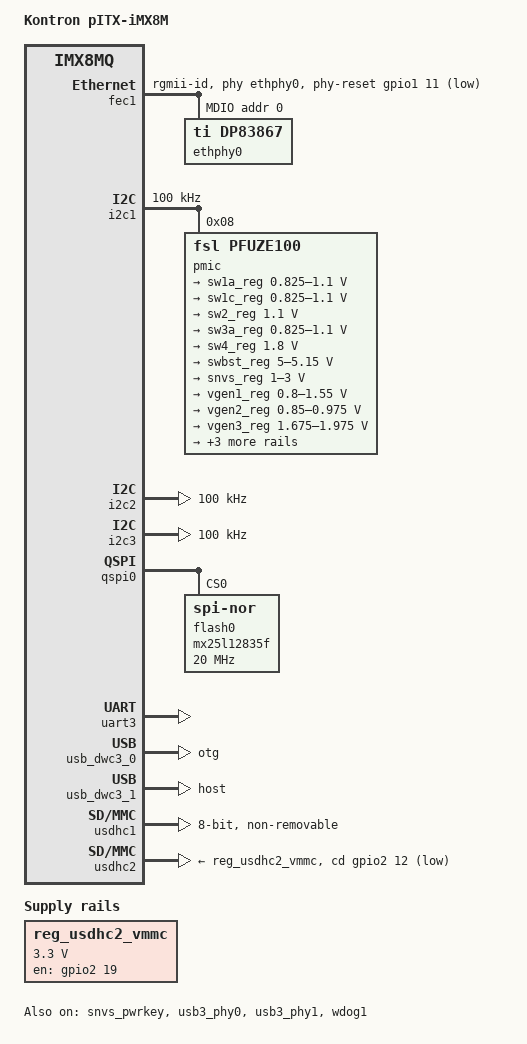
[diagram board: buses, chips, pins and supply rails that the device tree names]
// SPDX-License-Identifier: GPL-2.0+
/*
 * (C) Copyright 2019
 *     Kontron Asia Pacific Design
 * (C) Copyright 2020
 *     Thomas Schaefer, Kontron Europe GmbH
 *     thomas.schaefer@kontron.com
 */

/dts-v1/;

/* First 128KB is for PSCI ATF. */
/memreserve/ 0x40000000 0x00020000;

#include "imx8mq.dtsi"
#include <dt-bindings/net/ti-dp83867.h>

/ {
	model = "Kontron pITX-iMX8M";
	compatible = "kontron,pitx-imx8m", "fsl,imx8mq";

	chosen {
		bootargs = "console=ttymxc2,115200 earlycon=ec_imx6q,0x30880000,115200";
		stdout-path = &uart3;
	};

	reg_usdhc2_vmmc: regulator-vsd-3v3 {
		pinctrl-names = "default";
		pinctrl-0 = <&pinctrl_reg_usdhc2>;
		compatible = "regulator-fixed";
		regulator-name = "VSD_3V3";
		regulator-min-microvolt = <3300000>;
		regulator-max-microvolt = <3300000>;
		gpio = <&gpio2 19 GPIO_ACTIVE_HIGH>;
		// off-on-delay-us = <20000>;
		enable-active-high;
	};
};

&fec1 {
	pinctrl-names = "default";
	pinctrl-0 = <&pinctrl_fec1>;
	phy-mode = "rgmii-id";
	phy-handle = <&ethphy0>;
	phy-reset-gpios = <&gpio1 11 GPIO_ACTIVE_LOW>;
	fsl,magic-packet;
	status = "okay";

	/* START of DP83867 patch for U-Boot */
	/*
	 * For some unknown reasons, DP83867 PHY driver for U-Boot doesn't
	 * read its properties from the phy0 node.
	 * As a workaround, we move them here
	 */
	ti,rx-internal-delay = <DP83867_RGMIIDCTL_2_25_NS>;
	ti,tx-internal-delay = <DP83867_RGMIIDCTL_2_75_NS>;
	ti,fifo-depth = <DP83867_PHYCR_FIFO_DEPTH_4_B_NIB>;
	ti,dp83867-rxctrl-strap-quirk = <1>;
	/* END of DP83867 patch for U-Boot */

	mdio {
		#address-cells = <1>;
		#size-cells = <0>;

		ethphy0: ethernet-phy@0 {
			compatible = "ti,dp83867", "ethernet-phy-ieee802.3-c22";
			reg = <0>;
			// ti,min-output-impedance;
		};
	};
};

&i2c1 {
	clock-frequency = <100000>;
	pinctrl-names = "default";
	pinctrl-0 = <&pinctrl_i2c1>;
	status = "okay";

	pmic@8 {
		compatible = "fsl,pfuze100";
		fsl,pfuze-support-disable-sw;
		reg = <0x8>;

		regulators {
			sw1a_reg: sw1ab {
				regulator-min-microvolt = <825000>;
				regulator-max-microvolt = <1100000>;
			};

			sw1c_reg: sw1c {
				regulator-min-microvolt = <825000>;
				regulator-max-microvolt = <1100000>;
			};

			sw2_reg: sw2 {
				regulator-min-microvolt = <1100000>;
				regulator-max-microvolt = <1100000>;
				regulator-always-on;
			};

			sw3a_reg: sw3ab {
				regulator-min-microvolt = <825000>;
				regulator-max-microvolt = <1100000>;
				regulator-always-on;
			};

			sw4_reg: sw4 {
				regulator-min-microvolt = <1800000>;
				regulator-max-microvolt = <1800000>;
				regulator-always-on;
			};

			swbst_reg: swbst {
				regulator-min-microvolt = <5000000>;
				regulator-max-microvolt = <5150000>;
			};

			snvs_reg: vsnvs {
				regulator-min-microvolt = <1000000>;
				regulator-max-microvolt = <3000000>;
				regulator-always-on;
			};

			vref_reg: vrefddr {
				regulator-always-on;
			};

			vgen1_reg: vgen1 {
				regulator-min-microvolt = <800000>;
				regulator-max-microvolt = <1550000>;
			};

			vgen2_reg: vgen2 {
				regulator-min-microvolt = <850000>;
				regulator-max-microvolt = <975000>;
				regulator-always-on;
			};

			vgen3_reg: vgen3 {
				regulator-min-microvolt = <1675000>;
				regulator-max-microvolt = <1975000>;
				regulator-always-on;
			};

			vgen4_reg: vgen4 {
				regulator-min-microvolt = <1625000>;
				regulator-max-microvolt = <1875000>;
				regulator-always-on;
			};

			vgen5_reg: vgen5 {
				regulator-min-microvolt = <3075000>;
				regulator-max-microvolt = <3625000>;
				regulator-always-on;
			};

			vgen6_reg: vgen6 {
				regulator-min-microvolt = <1800000>;
				regulator-max-microvolt = <3300000>;
			};
		};
	};
};

&i2c2 {
	clock-frequency = <100000>;
	pinctrl-names = "default";
	pinctrl-0 = <&pinctrl_i2c2>;
	status = "okay";
};

&i2c3 {
	clock-frequency = <100000>;
	pinctrl-names = "default";
	pinctrl-0 = <&pinctrl_i2c3>;
	status = "okay";
};

&pgc_gpu {
	power-supply = <&sw1a_reg>;
};

&snvs_pwrkey {
	status = "okay";
};

&qspi0 {
	pinctrl-names = "default";
	pinctrl-0 = <&pinctrl_qspi>;
	status = "okay";

	flash0: mx25l12835f@0 {
		reg = <0>;
		#address-cells = <1>;
		#size-cells = <1>;
		compatible = "jedec,spi-nor";
		spi-max-frequency = <20000000>;
		spi-tx-bus-width = <2>;
		spi-rx-bus-width = <2>;
	};
};

&uart3 {
	pinctrl-names = "default";
	pinctrl-0 = <&pinctrl_uart3>;
	assigned-clocks = <&clk IMX8MQ_CLK_UART3>;
	assigned-clock-parents = <&clk IMX8MQ_CLK_25M>;
	status = "okay";
};

&usb3_phy0 {
	status = "okay";
};

&usb_dwc3_0 {
	dr_mode = "otg";
	pinctrl-names = "default";
	pinctrl-0 = <&pinctrl_usb0>;
	hnp-disable;
	srp-disable;
	adp-disable;
	usb-role-switch;
	snps,dis-u1-entry-quirk;
	snps,dis-u2-entry-quirk;
	status = "okay";
};

&usb3_phy1 {
	status = "okay";
};

&usb_dwc3_1 {
	dr_mode = "host";
	status = "okay";
};

&usdhc1 {
	pinctrl-names = "default", "state_100mhz", "state_200mhz";
	pinctrl-0 = <&pinctrl_usdhc1>;
	pinctrl-1 = <&pinctrl_usdhc1_100mhz>;
	pinctrl-2 = <&pinctrl_usdhc1_200mhz>;
	vqmmc-supply = <&sw4_reg>;
	bus-width = <8>;
	non-removable;
	no-sd;
	no-sdio;
	mmc-hs400-1_8v;
	status = "okay";
};

&usdhc2 {
	pinctrl-names = "default", "state_100mhz", "state_200mhz";
	pinctrl-0 = <&pinctrl_usdhc2>;
	pinctrl-1 = <&pinctrl_usdhc2_100mhz>;
	pinctrl-2 = <&pinctrl_usdhc2_200mhz>;
	cd-gpios = <&gpio2 12 GPIO_ACTIVE_LOW>;
	vmmc-supply = <&reg_usdhc2_vmmc>;
	sd-uhs-sdr104;
	sd-uhs-ddr50;
	status = "okay";
};

&wdog1 {
	pinctrl-names = "default";
	pinctrl-0 = <&pinctrl_wdog>;
	fsl,ext-reset-output;
	status = "okay";
};

//&dcss {
//	status = "okay";
//	port@0 {
//		dcss_out: endpoint {
//			remote-endpoint = <&hdmi_in>;
//		};
//	};
//};

//&hdmi {
//	compatible = "fsl,imx8mq-hdmi";
//	status = "okay";
//
//	display-timings {
//		native-mode = <&timing1>;
//
//		timing1: timing1 {
//			clock-frequency = <148500000>;
//			hactive = <1920>;
//			vactive = <1080>;
//			hfront-porch = <88>;
//			hback-porch = <148>;
//			hsync-len = <44>;
//			vback-porch = <36>;
//			vfront-porch = <4>;
//			vsync-len = <5>;
//		};
//	};
//
//	port@0 {
//		hdmi_in: endpoint {
//			remote-endpoint = <&dcss_out>;
//		};
//	};
//};

&iomuxc {
	pinctrl-names = "default";

	pinctrl_fec1: fec1grp {
		fsl,pins = <
			MX8MQ_IOMUXC_ENET_MDC_ENET1_MDC			0x3
			MX8MQ_IOMUXC_ENET_MDIO_ENET1_MDIO		0x23
			MX8MQ_IOMUXC_ENET_TD3_ENET1_RGMII_TD3		0x1f
			MX8MQ_IOMUXC_ENET_TD2_ENET1_RGMII_TD2		0x1f
			MX8MQ_IOMUXC_ENET_TD1_ENET1_RGMII_TD1		0x1f
			MX8MQ_IOMUXC_ENET_TD0_ENET1_RGMII_TD0		0x1f
			MX8MQ_IOMUXC_ENET_RD3_ENET1_RGMII_RD3		0x91
			MX8MQ_IOMUXC_ENET_RD2_ENET1_RGMII_RD2		0x91
			MX8MQ_IOMUXC_ENET_RD1_ENET1_RGMII_RD1		0x91
			MX8MQ_IOMUXC_ENET_RD0_ENET1_RGMII_RD0		0x91
			MX8MQ_IOMUXC_ENET_TXC_ENET1_RGMII_TXC		0x1f
			MX8MQ_IOMUXC_ENET_RXC_ENET1_RGMII_RXC		0x91
			MX8MQ_IOMUXC_ENET_RX_CTL_ENET1_RGMII_RX_CTL	0x91
			MX8MQ_IOMUXC_ENET_TX_CTL_ENET1_RGMII_TX_CTL	0x1f
			MX8MQ_IOMUXC_GPIO1_IO11_GPIO1_IO11		0x19
		>;
	};

	pinctrl_i2c1: i2c1grp {
		fsl,pins = <
			MX8MQ_IOMUXC_I2C1_SCL_I2C1_SCL			0x4000007f
			MX8MQ_IOMUXC_I2C1_SDA_I2C1_SDA			0x4000007f
		>;
	};

	pinctrl_i2c2: i2c2grp {
		fsl,pins = <
			MX8MQ_IOMUXC_I2C2_SCL_I2C2_SCL			0x4000007f
			MX8MQ_IOMUXC_I2C2_SDA_I2C2_SDA			0x4000007f
		>;
	};

	pinctrl_i2c3: i2c3grp {
		fsl,pins = <
			MX8MQ_IOMUXC_I2C3_SCL_I2C3_SCL			0x4000007f
			MX8MQ_IOMUXC_I2C3_SDA_I2C3_SDA			0x4000007f
		>;
	};

	/* PCIE0 for M.2 */
	pinctrl_m2: m2grp {
		fsl,pins = <
			MX8MQ_IOMUXC_GPIO1_IO09_GPIO1_IO9		0x16	/* PCIE_PERST# */
			MX8MQ_IOMUXC_GPIO1_IO12_GPIO1_IO12		0x16	/* W_DISABLE# */
		>;
	};

	/* PCIE1 for GbE I210 */
	pinctrl_i210: i210grp {
		fsl,pins = <
			MX8MQ_IOMUXC_GPIO1_IO09_GPIO1_IO9		0x16 /* PCIE_PERST# */
		>;
	};

	pinctrl_qspi: qspigrp {
		fsl,pins = <
			MX8MQ_IOMUXC_NAND_ALE_QSPI_A_SCLK		0x82
			MX8MQ_IOMUXC_NAND_CE0_B_QSPI_A_SS0_B		0x82
			MX8MQ_IOMUXC_NAND_DATA00_QSPI_A_DATA0		0x82
			MX8MQ_IOMUXC_NAND_DATA01_QSPI_A_DATA1		0x82
			MX8MQ_IOMUXC_NAND_DATA02_QSPI_A_DATA2		0x82
			MX8MQ_IOMUXC_NAND_DATA03_QSPI_A_DATA3		0x82

		>;
	};

	pinctrl_reg_usdhc2: regusdhc2grpgpio {
		fsl,pins = <
			MX8MQ_IOMUXC_SD2_CD_B_GPIO2_IO12		0x41
			MX8MQ_IOMUXC_SD2_RESET_B_GPIO2_IO19		0x41
		>;
	};

	pinctrl_uart1: uart1grp {
		fsl,pins = <
			MX8MQ_IOMUXC_UART1_RXD_UART1_DCE_RX		0x79
			MX8MQ_IOMUXC_UART1_TXD_UART1_DCE_TX		0x79
		>;
	};

	pinctrl_uart3: uart3grp {
		fsl,pins = <
			MX8MQ_IOMUXC_UART3_TXD_UART3_DCE_TX		0x79
			MX8MQ_IOMUXC_UART3_RXD_UART3_DCE_RX		0x79
			MX8MQ_IOMUXC_ECSPI1_MISO_UART3_DCE_CTS_B	0x79
			MX8MQ_IOMUXC_ECSPI1_SS0_UART3_DCE_RTS_B		0x79
			MX8MQ_IOMUXC_NAND_CLE_GPIO3_IO5			0x19
		>;
	};

	pinctrl_usb0: usb0grp {
		fsl,pins = <
			MX8MQ_IOMUXC_GPIO1_IO12_USB1_OTG_PWR		0x19
			MX8MQ_IOMUXC_GPIO1_IO13_USB1_OTG_OC		0x19
			MX8MQ_IOMUXC_GPIO1_IO10_USB1_OTG_ID		0x19
		>;
	};

	pinctrl_usdhc1: usdhc1grp {
		fsl,pins = <
			MX8MQ_IOMUXC_SD1_CLK_USDHC1_CLK			0x83
			MX8MQ_IOMUXC_SD1_CMD_USDHC1_CMD			0xc3
			MX8MQ_IOMUXC_SD1_DATA0_USDHC1_DATA0		0xc3
			MX8MQ_IOMUXC_SD1_DATA1_USDHC1_DATA1		0xc3
			MX8MQ_IOMUXC_SD1_DATA2_USDHC1_DATA2		0xc3
			MX8MQ_IOMUXC_SD1_DATA3_USDHC1_DATA3		0xc3
			MX8MQ_IOMUXC_SD1_DATA4_USDHC1_DATA4		0xc3
			MX8MQ_IOMUXC_SD1_DATA5_USDHC1_DATA5		0xc3
			MX8MQ_IOMUXC_SD1_DATA6_USDHC1_DATA6		0xc3
			MX8MQ_IOMUXC_SD1_DATA7_USDHC1_DATA7		0xc3
			MX8MQ_IOMUXC_SD1_STROBE_USDHC1_STROBE		0x83
			MX8MQ_IOMUXC_SD1_RESET_B_USDHC1_RESET_B		0xc1
		>;
	};

	pinctrl_usdhc1_100mhz: usdhc1-100grp {
		fsl,pins = <
			MX8MQ_IOMUXC_SD1_CLK_USDHC1_CLK			0x8d
			MX8MQ_IOMUXC_SD1_CMD_USDHC1_CMD			0xcd
			MX8MQ_IOMUXC_SD1_DATA0_USDHC1_DATA0		0xcd
			MX8MQ_IOMUXC_SD1_DATA1_USDHC1_DATA1		0xcd
			MX8MQ_IOMUXC_SD1_DATA2_USDHC1_DATA2		0xcd
			MX8MQ_IOMUXC_SD1_DATA3_USDHC1_DATA3		0xcd
			MX8MQ_IOMUXC_SD1_DATA4_USDHC1_DATA4		0xcd
			MX8MQ_IOMUXC_SD1_DATA5_USDHC1_DATA5		0xcd
			MX8MQ_IOMUXC_SD1_DATA6_USDHC1_DATA6		0xcd
			MX8MQ_IOMUXC_SD1_DATA7_USDHC1_DATA7		0xcd
			MX8MQ_IOMUXC_SD1_STROBE_USDHC1_STROBE		0x8d
			MX8MQ_IOMUXC_SD1_RESET_B_USDHC1_RESET_B		0xc1
		>;
	};

	pinctrl_usdhc1_200mhz: usdhc1-200grp {
		fsl,pins = <
			MX8MQ_IOMUXC_SD1_CLK_USDHC1_CLK			0x9f
			MX8MQ_IOMUXC_SD1_CMD_USDHC1_CMD			0xdf
			MX8MQ_IOMUXC_SD1_DATA0_USDHC1_DATA0		0xdf
			MX8MQ_IOMUXC_SD1_DATA1_USDHC1_DATA1		0xdf
			MX8MQ_IOMUXC_SD1_DATA2_USDHC1_DATA2		0xdf
			MX8MQ_IOMUXC_SD1_DATA3_USDHC1_DATA3		0xdf
			MX8MQ_IOMUXC_SD1_DATA4_USDHC1_DATA4		0xdf
			MX8MQ_IOMUXC_SD1_DATA5_USDHC1_DATA5		0xdf
			MX8MQ_IOMUXC_SD1_DATA6_USDHC1_DATA6		0xdf
			MX8MQ_IOMUXC_SD1_DATA7_USDHC1_DATA7		0xdf
			MX8MQ_IOMUXC_SD1_STROBE_USDHC1_STROBE		0x9f
			MX8MQ_IOMUXC_SD1_RESET_B_USDHC1_RESET_B		0xc1
		>;
	};

	pinctrl_usdhc2: usdhc2grp {
		fsl,pins = <
			MX8MQ_IOMUXC_SD2_CLK_USDHC2_CLK			0x83
			MX8MQ_IOMUXC_SD2_CMD_USDHC2_CMD			0xc3
			MX8MQ_IOMUXC_SD2_DATA0_USDHC2_DATA0		0xc3
			MX8MQ_IOMUXC_SD2_DATA1_USDHC2_DATA1		0xc3
			MX8MQ_IOMUXC_SD2_DATA2_USDHC2_DATA2		0xc3
			MX8MQ_IOMUXC_SD2_DATA3_USDHC2_DATA3		0xc3
			MX8MQ_IOMUXC_GPIO1_IO04_USDHC2_VSELECT		0xc1
		>;
	};

	pinctrl_usdhc2_100mhz: usdhc2-100grp {
		fsl,pins = <
			MX8MQ_IOMUXC_SD2_CLK_USDHC2_CLK			0x85
			MX8MQ_IOMUXC_SD2_CMD_USDHC2_CMD			0xc5
			MX8MQ_IOMUXC_SD2_DATA0_USDHC2_DATA0		0xc5
			MX8MQ_IOMUXC_SD2_DATA1_USDHC2_DATA1		0xc5
			MX8MQ_IOMUXC_SD2_DATA2_USDHC2_DATA2		0xc5
			MX8MQ_IOMUXC_SD2_DATA3_USDHC2_DATA3		0xc5
			MX8MQ_IOMUXC_GPIO1_IO04_USDHC2_VSELECT		0xc1
		>;
	};

	pinctrl_usdhc2_200mhz: usdhc2-200grp {
		fsl,pins = <
			MX8MQ_IOMUXC_SD2_CLK_USDHC2_CLK			0x87
			MX8MQ_IOMUXC_SD2_CMD_USDHC2_CMD			0xc7
			MX8MQ_IOMUXC_SD2_DATA0_USDHC2_DATA0		0xc7
			MX8MQ_IOMUXC_SD2_DATA1_USDHC2_DATA1		0xc7
			MX8MQ_IOMUXC_SD2_DATA2_USDHC2_DATA2		0xc7
			MX8MQ_IOMUXC_SD2_DATA3_USDHC2_DATA3		0xc7
			MX8MQ_IOMUXC_GPIO1_IO04_USDHC2_VSELECT		0xc1
		>;
	};

	pinctrl_wdog: wdog1grp {
		fsl,pins = <
			MX8MQ_IOMUXC_GPIO1_IO02_WDOG1_WDOG_B		0xc6
		>;
	};
};
